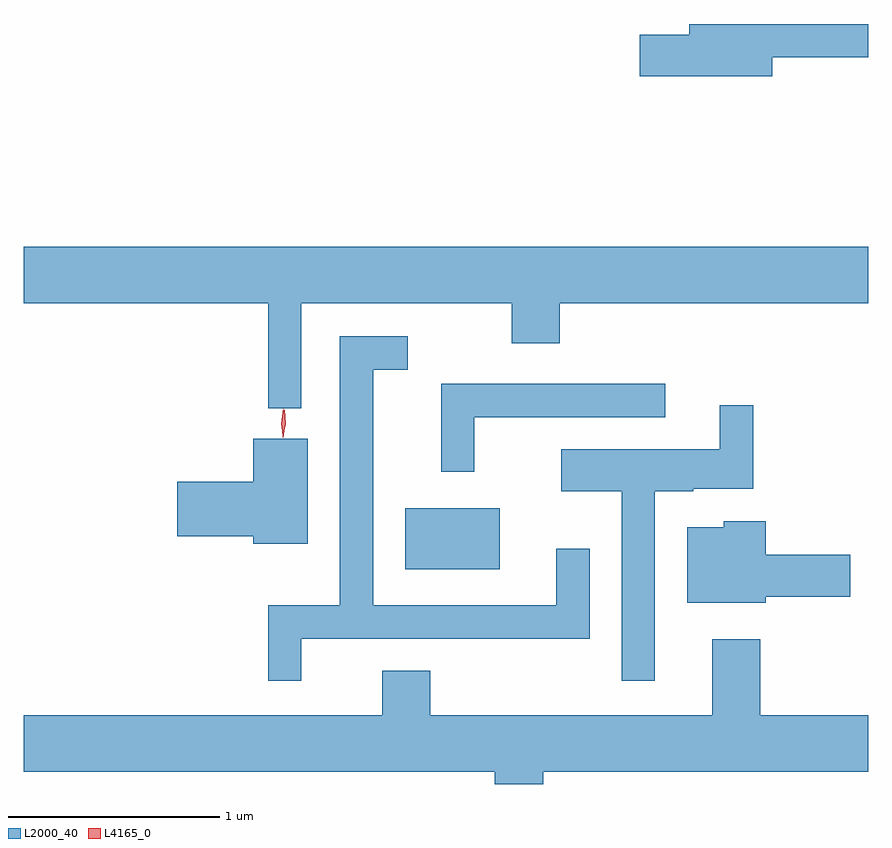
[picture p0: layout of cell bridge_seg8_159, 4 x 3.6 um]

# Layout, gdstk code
import gdstk
lib = gdstk.Library(unit=1e-6, precision=1e-09)
def R(c, l, rs):  # rectangles x0, y0, x1, y1
    for r in rs: c.add(gdstk.rectangle(r[:2], r[2:], *l))
def P(c, l, *ps):  # polygons
    for p in ps: c.add(gdstk.Polygon(p, *l))
L2000_40 = (2000, 40)
L4165_0 = (4165, 0)

bridge_seg8_159 = lib.new_cell('bridge_seg8_159')
R(bridge_seg8_159, L2000_40, [(1428.866,1935.056,1429.314,1935.344)])
P(bridge_seg8_159, L2000_40, [(1430.604,1937.481),(1431.059,1937.481),(1431.059,1937.639),(1430.211,1937.639),(1430.211,1937.589),(1429.976,1937.589),(1429.976,1937.391),(1430.604,1937.391)],
  [(1428.374,1936.316),(1429.371,1936.316),(1429.371,1936.126),(1429.599,1936.126),(1429.599,1936.316),(1431.059,1936.316),(1431.059,1936.584),(1427.059,1936.584),(1427.059,1936.316),(1428.216,1936.316),(1428.216,1935.818),(1428.374,1935.818)],
  [(1428.374,1934.726),(1429.739,1934.726),(1429.739,1935.153),(1429.581,1935.153),(1429.581,1934.884),(1428.714,1934.884),(1428.714,1936.001),(1428.878,1936.001),(1428.878,1936.159),(1428.556,1936.159),(1428.556,1934.884),(1428.216,1934.884),(1428.216,1934.528),(1428.374,1934.528)],
  [(1429.194,1935.776),(1430.098,1935.776),(1430.098,1935.934),(1429.036,1935.934),(1429.036,1935.518),(1429.194,1935.518)],
  [(1430.049,1935.426),(1430.23,1935.426),(1430.23,1935.436),(1430.514,1935.436),(1430.514,1935.833),(1430.356,1935.833),(1430.356,1935.624),(1429.606,1935.624),(1429.606,1935.426),(1429.891,1935.426),(1429.891,1934.528),(1430.049,1934.528)],
  [(1428.404,1935.674),(1428.146,1935.674),(1428.146,1935.469),(1427.786,1935.469),(1427.786,1935.211),(1428.146,1935.211),(1428.146,1935.176),(1428.404,1935.176)],
  [(1430.574,1934.926),(1430.974,1934.926),(1430.974,1935.124),(1430.574,1935.124),(1430.574,1935.284),(1430.376,1935.284),(1430.376,1935.254),(1430.201,1935.254),(1430.201,1934.896),(1430.574,1934.896)],
  [(1429.519,1934.096),(1431.059,1934.096),(1431.059,1934.364),(1430.549,1934.364),(1430.549,1934.724),(1430.321,1934.724),(1430.321,1934.364),(1428.984,1934.364),(1428.984,1934.574),(1428.756,1934.574),(1428.756,1934.364),(1427.059,1934.364),(1427.059,1934.096),(1429.291,1934.096),(1429.291,1934.038),(1429.519,1934.038)])
P(bridge_seg8_159, L4165_0, [(1428.288,1935.678),(1428.288,1935.678),(1428.278,1935.746),(1428.288,1935.815),(1428.288,1935.815),(1428.289,1935.815),(1428.298,1935.746),(1428.289,1935.678)],
  [(1428.286,1935.681),(1428.285,1935.682),(1428.28,1935.747),(1428.293,1935.811),(1428.293,1935.812),(1428.294,1935.811),(1428.3,1935.746),(1428.286,1935.682)])

lib.write_gds('bridge_seg8_159.gds')
